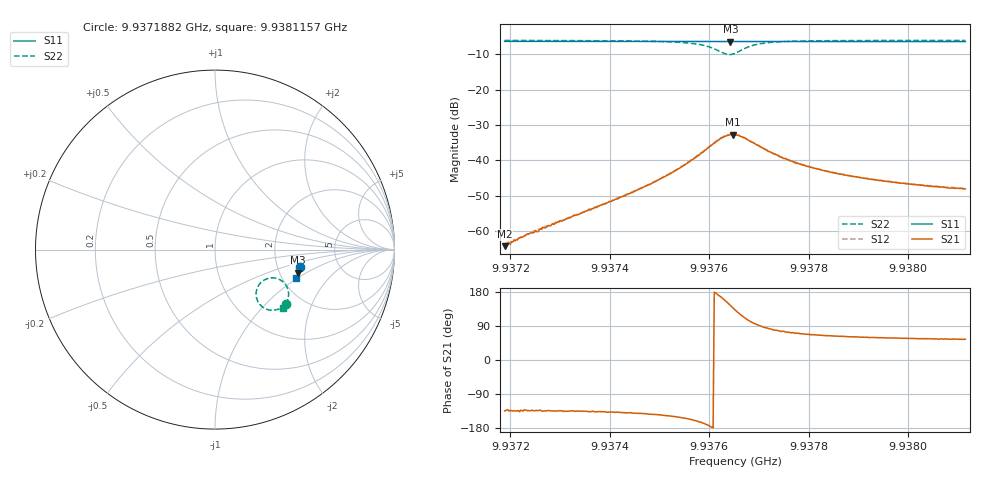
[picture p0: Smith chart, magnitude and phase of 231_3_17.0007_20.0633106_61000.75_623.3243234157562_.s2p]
#  HZ  S  RI  R  50.00
! Rohde & Schwarz Vector Network Analyzer
! Rohde-Schwarz,ZNB20-2Port,1311601062101988,3.16
! Created: UTC 3/20/2024, 11:02:23 PM
! freq[Hz]  re:S11  im:S11  re:S21  im:S21  re:S12  im:S12  re:S22  im:S22
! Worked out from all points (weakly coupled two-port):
!   401 points, 9.9371882 GHz to 9.9381157 GHz, reference 50 ohm
!   highest |S21| = -32.73 dB at 9.9376473 GHz (marker M1); lowest = -64.4 dB at 9.9371882 GHz (marker M2)
!   lowest |S11| = -6.4 dB at 9.9376427 GHz (marker M3), VSWR 2.84, Z = 126 - j41.9 ohm
!   |S11| at or under -10 dB: nowhere
!   |S22| runs from -10.1 to -6.1 dB; largest |S21 - S12| = 0.0011
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9.93718819e9  0.4736 -0.0995  -0.000422 -0.000434  -0.00044 -0.00044  0.395 -0.3029
9.93723688e9  0.4727 -0.1027  -0.000616 -0.000655  -0.000638 -0.000632  0.3912 -0.3068
9.93725079e9  0.4725 -0.1036  -0.000686 -0.000732  -0.000725 -0.000711  0.3901 -0.3081
9.93726239e9  0.4723 -0.1045  -0.000735 -0.000748  -0.000763 -0.000781  0.3891 -0.3091
9.93734354e9  0.4705 -0.1099  -0.00124 -0.00127  -0.00131 -0.00122  0.3805 -0.3165
9.93742934e9  0.4687 -0.1158  -0.00236 -0.00206  -0.00243 -0.00206  0.3667 -0.3257
9.9374989e9  0.4672 -0.1205  -0.00435 -0.00307  -0.00442 -0.00306  0.3466 -0.3343
9.93754759e9  0.4657 -0.1239  -0.00743 -0.00379  -0.00759 -0.00374  0.3188 -0.3384
9.93759165e9  0.464 -0.1267  -0.0136 -0.00275  -0.0138 -0.00255  0.2687 -0.3226
9.93760788e9  0.4632 -0.1277  -0.0171 -0.000172  -0.0173 0.000272  0.2442 -0.2981
9.93762411e9  0.4624 -0.128  -0.0198 0.00498  -0.0201 0.00574  0.2292 -0.2527
9.93764266e9  0.4618 -0.1284  -0.0186 0.0135  -0.0185 0.0143  0.252 -0.1878
9.9376473e9  0.4619 -0.1283  -0.0173 0.0153  -0.0169 0.0162  0.2658 -0.1751
9.93765194e9  0.4621 -0.1286  -0.0154 0.0169  -0.0151 0.0178  0.2816 -0.1659
9.93767744e9  0.4625 -0.1298  -0.0053 0.0188  -0.00473 0.0191  0.3629 -0.1684
9.93770527e9  0.4627 -0.1318  0.000371 0.0152  0.000725 0.0152  0.4004 -0.2076
9.937747e9  0.4621 -0.135  0.0027 0.0105  0.00306 0.0106  0.4103 -0.2489
9.93780729e9  0.4608 -0.1393  0.0031 0.00721  0.00327 0.0072  0.4054 -0.2788
9.93787917e9  0.4591 -0.144  0.00291 0.00533  0.00299 0.00531  0.3977 -0.2965
9.93796265e9  0.457 -0.1496  0.00263 0.00422  0.00268 0.00418  0.3899 -0.309
9.93803917e9  0.4552 -0.1544  0.00242 0.00357  0.00253 0.00359  0.3837 -0.3169
9.93811569e9  0.4531 -0.1595  0.00226 0.00319  0.00237 0.00316  0.3783 -0.3237
